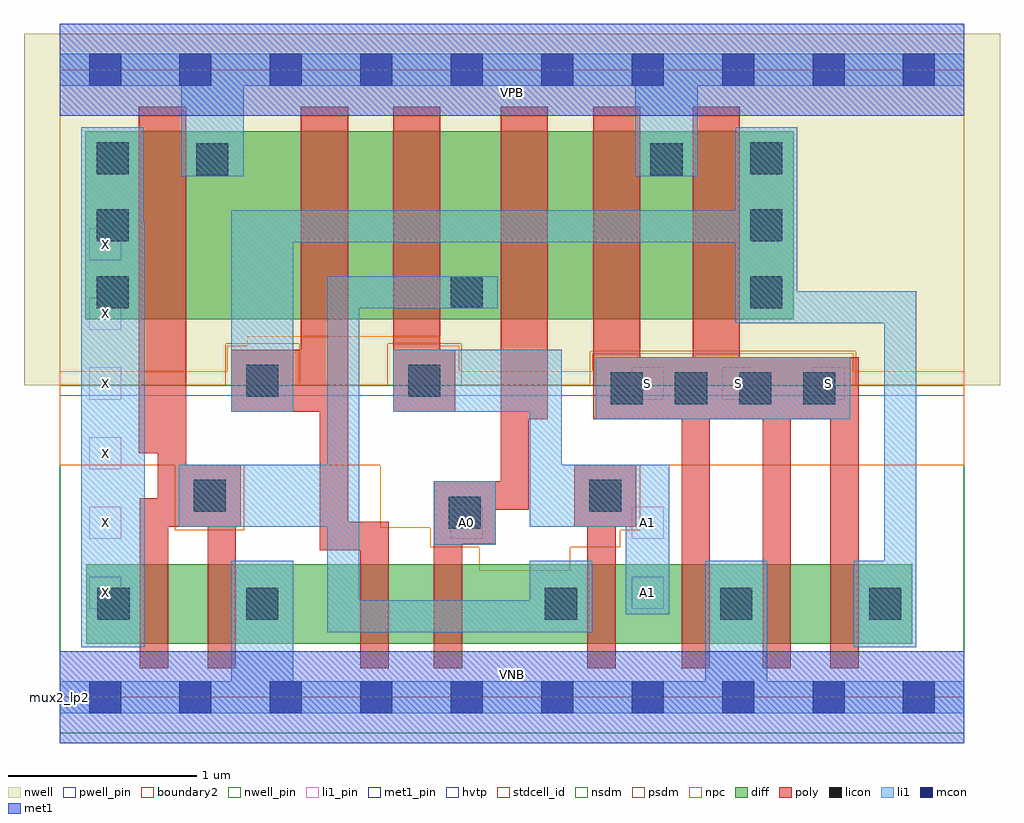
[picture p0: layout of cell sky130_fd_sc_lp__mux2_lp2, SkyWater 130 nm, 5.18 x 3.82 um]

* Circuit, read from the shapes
.subckt sky130_fd_sc_lp__mux2_lp2 A0 A1 S VGND VNB VPB VPWR X
XM1 n1 n2 X VNB sky130_fd_pr__nfet_01v8 w=0.42 l=0.15
XM2 VGND n2 n1 VNB sky130_fd_pr__nfet_01v8 w=0.42 l=0.15
XM3 n3 n4 VGND VNB sky130_fd_pr__nfet_01v8 w=0.42 l=0.15
XM4 n2 A0 n3 VNB sky130_fd_pr__nfet_01v8 w=0.42 l=0.15
XM5 n5 A1 n2 VNB sky130_fd_pr__nfet_01v8 w=0.42 l=0.15
XM6 VGND S n5 VNB sky130_fd_pr__nfet_01v8 w=0.42 l=0.15
XM7 n6 S VGND VNB sky130_fd_pr__nfet_01v8 w=0.42 l=0.15
XM8 n4 S n6 VNB sky130_fd_pr__nfet_01v8 w=0.42 l=0.15
XM9 VPWR n2 X VPB sky130_fd_pr__pfet_01v8_hvt w=1 l=0.25
XM10 n7 n4 VPWR VPB sky130_fd_pr__pfet_01v8_hvt w=1 l=0.25
XM11 n2 A1 n7 VPB sky130_fd_pr__pfet_01v8_hvt w=1 l=0.25
XM12 n8 A0 n2 VPB sky130_fd_pr__pfet_01v8_hvt w=1 l=0.25
XM13 VPWR S n8 VPB sky130_fd_pr__pfet_01v8_hvt w=1 l=0.25
XM14 n4 S VPWR VPB sky130_fd_pr__pfet_01v8_hvt w=1 l=0.25
.ends

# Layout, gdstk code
import gdstk
lib = gdstk.Library(unit=1e-6, precision=1e-09)
def R(c, l, rs):  # rectangles x0, y0, x1, y1
    for r in rs: c.add(gdstk.rectangle(r[:2], r[2:], *l))
def A(c, l, x, y, w, h, nx, ny, dx, dy):  # array of equal rectangles
    R(c, l, [(x+i*dx, y+j*dy, x+i*dx+w, y+j*dy+h) for i in range(nx) for j in range(ny)])
def P(c, l, *ps):  # polygons
    for p in ps: c.add(gdstk.Polygon(p, *l))
nwell_pin = (64, 16)
nwell = (64, 20)
diff = (65, 20)
poly = (66, 20)
licon = (66, 44)
li1_pin = (67, 16)
li1 = (67, 20)
mcon = (67, 44)
met1_pin = (68, 16)
met1 = (68, 20)
hvtp = (78, 44)
stdcell_id = (81, 4)
nsdm = (93, 44)
psdm = (94, 20)
npc = (95, 20)
pwell_pin = (122, 16)
boundary2 = (236, 0)

sky130_fd_sc_lp__mux2_lp = lib.new_cell('sky130_fd_sc_lp__mux2_lp2')
R(sky130_fd_sc_lp__mux2_lp, nwell_pin, [(0,3.085,4.8,3.33)])
R(sky130_fd_sc_lp__mux2_lp, nwell, [(-0.19,1.655,4.99,3.52)])
R(sky130_fd_sc_lp__mux2_lp, diff, [(0.14,0.285,4.525,0.705), (0.135,2.005,3.895,3.005)])
P(sky130_fd_sc_lp__mux2_lp, poly, [(0.96,1.235),(0.67,1.235),(0.67,3.135),(0.42,3.135),(0.42,1.295),(0.52,1.295),(0.52,1.055),(0.425,1.055),(0.425,0.155),(0.575,0.155),(0.575,0.905),(0.785,0.905),(0.785,0.155),(0.935,0.155),(0.935,0.905),(0.96,0.905)],
  [(1.745,0.93),(1.53,0.93),(1.53,3.135),(1.28,3.135),(1.28,1.845),(0.91,1.845),(0.91,1.515),(1.38,1.515),(1.38,0.78),(1.595,0.78),(1.595,0.155),(1.745,0.155)],
  [(2.1,1.845),(2.02,1.845),(2.02,3.135),(1.77,3.135),(1.77,1.515),(2.1,1.515)],
  [(2.59,3.135),(2.34,3.135),(2.34,1.145),(1.985,1.145),(1.985,0.155),(2.135,0.155),(2.135,0.815),(2.315,0.815),(2.315,0.995),(2.49,0.995),(2.49,1.475),(2.59,1.475)],
  [(3.06,1.235),(2.73,1.235),(2.73,0.905),(2.8,0.905),(2.8,0.155),(2.95,0.155),(2.95,0.905),(3.06,0.905)],
  [(4.24,1.805),(3.61,1.805),(3.61,3.135),(3.36,3.135),(3.36,1.805),(3.08,1.805),(3.08,3.135),(2.83,3.135),(2.83,1.475),(3.3,1.475),(3.3,0.155),(3.45,0.155),(3.45,1.475),(3.73,1.475),(3.73,0.155),(3.88,0.155),(3.88,1.475),(4.09,1.475),(4.09,0.155),(4.24,0.155)])
A(sky130_fd_sc_lp__mux2_lp, licon, 2.925, 1.555, 0.17, 0.17, 4, 1, 0.34, 0)
A(sky130_fd_sc_lp__mux2_lp, licon, 0.195, 2.065, 0.17, 0.17, 1, 3, 0, 0.355)
A(sky130_fd_sc_lp__mux2_lp, licon, 3.665, 2.065, 0.17, 0.17, 1, 3, 0, 0.355)
R(sky130_fd_sc_lp__mux2_lp, licon, [(0.2,0.41,0.37,0.58), (0.99,0.41,1.16,0.58), (2.575,0.41,2.745,0.58), (3.505,0.41,3.675,0.58), (4.295,0.41,4.465,0.58), (2.065,0.895,2.235,1.065), (0.71,0.985,0.88,1.155), (2.81,0.985,2.98,1.155), (0.99,1.595,1.16,1.765), (1.85,1.595,2.02,1.765), (2.075,2.065,2.245,2.235), (0.725,2.77,0.895,2.94), (3.135,2.77,3.305,2.94)])
A(sky130_fd_sc_lp__mux2_lp, li1_pin, 0.155, 0.47, 0.17, 0.17, 1, 6, 0, 0.37)
A(sky130_fd_sc_lp__mux2_lp, li1_pin, 3.035, 1.58, 0.17, 0.17, 3, 1, 0.48, 0)
R(sky130_fd_sc_lp__mux2_lp, li1_pin, [(3.035,0.47,3.205,0.64), (2.075,0.84,2.245,1.01), (3.035,0.84,3.205,1.01)])
R(sky130_fd_sc_lp__mux2_lp, li1, [(1.985,0.81,2.315,1.145), (2.845,1.475,4.195,1.805)])
P(sky130_fd_sc_lp__mux2_lp, li1, [(0.645,2.765),(0.645,3.245),(0,3.245),(0,3.415),(4.8,3.415),(4.8,3.245),(3.385,3.245),(3.385,2.765),(3.055,2.765),(3.055,3.245),(0.975,3.245),(0.975,2.765)],
  [(0.91,0.085),(0.91,0.725),(1.24,0.725),(1.24,0.085),(3.425,0.085),(3.425,0.725),(3.755,0.725),(3.755,0.085),(4.8,0.085),(4.8,-0.085),(0,-0.085),(0,0.085)],
  [(3.585,2.585),(3.585,3.025),(3.915,3.025),(3.915,2.155),(4.545,2.155),(4.545,0.265),(4.215,0.265),(4.215,0.725),(4.375,0.725),(4.375,1.985),(3.585,1.985),(3.585,2.415),(1.24,2.415),(1.24,1.515),(0.91,1.515),(0.91,2.585)],
  [(1.59,0.515),(2.495,0.515),(2.495,0.725),(2.825,0.725),(2.825,0.345),(1.42,0.345),(1.42,0.905),(0.63,0.905),(0.63,1.235),(1.42,1.235),(1.42,2.235),(2.325,2.235),(2.325,2.065),(1.59,2.065)],
  [(2.665,1.235),(3.235,1.235),(3.235,0.44),(3.005,0.44),(3.005,0.905),(2.495,0.905),(2.495,1.515),(1.77,1.515),(1.77,1.845),(2.665,1.845)],
  [(0.115,3.025),(0.445,3.025),(0.445,2.52),(0.45,2.52),(0.45,0.265),(0.115,0.265)])
A(sky130_fd_sc_lp__mux2_lp, mcon, 0.155, -0.085, 0.17, 0.17, 10, 2, 0.48, 3.33)
R(sky130_fd_sc_lp__mux2_lp, met1_pin, [(0,0,4.8,0.245), (0,3.085,4.8,3.33)])
R(sky130_fd_sc_lp__mux2_lp, met1, [(0,-0.245,4.8,0.245), (0,3.085,4.8,3.575)])
R(sky130_fd_sc_lp__mux2_lp, hvtp, [(0,1.6,4.8,3.33)])
R(sky130_fd_sc_lp__mux2_lp, stdcell_id, [(0,0,4.8,3.33)])
R(sky130_fd_sc_lp__mux2_lp, nsdm, [(0,-0.19,4.8,1.655)])
P(sky130_fd_sc_lp__mux2_lp, psdm, [(4.8,3.52),(0,3.52),(0,1.655),(0.88,1.655),(0.88,1.875),(1.27,1.875),(1.27,1.655),(1.74,1.655),(1.74,1.875),(2.13,1.875),(2.13,1.655),(2.815,1.655),(2.815,1.835),(4.225,1.835),(4.225,1.655),(4.8,1.655)])
P(sky130_fd_sc_lp__mux2_lp, npc, [(4.8,1.73),(4.215,1.73),(4.215,1.825),(2.825,1.825),(2.825,1.73),(2.12,1.73),(2.12,1.865),(2.015,1.865),(2.015,1.915),(0.995,1.915),(0.995,1.865),(0.89,1.865),(0.89,1.73),(0,1.73),(0,1.23),(0.61,1.23),(0.61,0.885),(0.98,0.885),(0.98,1.23),(1.7,1.23),(1.7,0.9),(1.965,0.9),(1.965,0.795),(2.225,0.795),(2.225,0.67),(2.71,0.67),(2.71,0.795),(2.975,0.795),(2.975,0.885),(3.08,0.885),(3.08,1.23),(4.8,1.23)])
R(sky130_fd_sc_lp__mux2_lp, pwell_pin, [(0,0,4.8,0.245)])
R(sky130_fd_sc_lp__mux2_lp, boundary2, [(0,0,4.8,3.33)])
sky130_fd_sc_lp__mux2_lp.add(gdstk.Label('VNB', (2.4,0.123), layer=64, texttype=59))
sky130_fd_sc_lp__mux2_lp.add(gdstk.Label('VPB', (2.4,3.208), layer=64, texttype=5))
sky130_fd_sc_lp__mux2_lp.add(gdstk.Label('mux2_lp2', (0,0), layer=83, texttype=44))
sky130_fd_sc_lp__mux2_lp.add(gdstk.Label('VPWR', (2.4,3.208), layer=68, texttype=5))
sky130_fd_sc_lp__mux2_lp.add(gdstk.Label('VGND', (2.4,0.123), layer=68, texttype=5))
sky130_fd_sc_lp__mux2_lp.add(gdstk.Label('S', (3.12,1.665), layer=67, texttype=5))
sky130_fd_sc_lp__mux2_lp.add(gdstk.Label('S', (3.6,1.665), layer=67, texttype=5))
sky130_fd_sc_lp__mux2_lp.add(gdstk.Label('S', (4.08,1.665), layer=67, texttype=5))
sky130_fd_sc_lp__mux2_lp.add(gdstk.Label('A0', (2.16,0.925), layer=67, texttype=5))
sky130_fd_sc_lp__mux2_lp.add(gdstk.Label('X', (0.24,0.555), layer=67, texttype=5))
sky130_fd_sc_lp__mux2_lp.add(gdstk.Label('X', (0.24,0.925), layer=67, texttype=5))
sky130_fd_sc_lp__mux2_lp.add(gdstk.Label('X', (0.24,1.295), layer=67, texttype=5))
sky130_fd_sc_lp__mux2_lp.add(gdstk.Label('X', (0.24,1.665), layer=67, texttype=5))
sky130_fd_sc_lp__mux2_lp.add(gdstk.Label('X', (0.24,2.035), layer=67, texttype=5))
sky130_fd_sc_lp__mux2_lp.add(gdstk.Label('X', (0.24,2.405), layer=67, texttype=5))
sky130_fd_sc_lp__mux2_lp.add(gdstk.Label('A1', (3.12,0.555), layer=67, texttype=5))
sky130_fd_sc_lp__mux2_lp.add(gdstk.Label('A1', (3.12,0.925), layer=67, texttype=5))

lib.write_gds('sky130_fd_sc_lp__mux2_lp2.gds')
